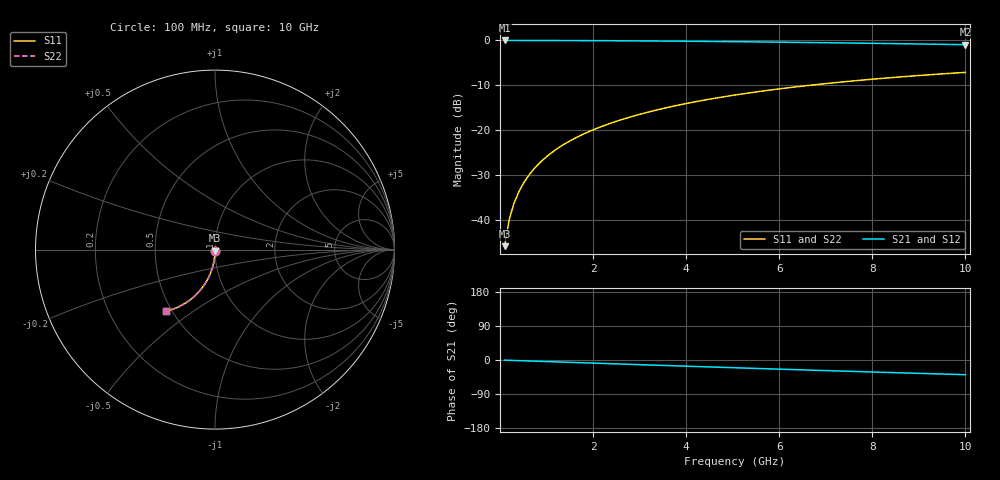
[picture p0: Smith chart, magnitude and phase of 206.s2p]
# Hz S RI R 50.00
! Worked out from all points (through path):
!   100 points, 100 MHz to 10 GHz, reference 50 ohm
!   highest |S21| = 0.00 dB at 100 MHz (marker M1); lowest = -0.9 dB at 10 GHz (marker M2)
!   group delay of S21, straight-line fit = 10.8 ps
!   lowest |S11| = -45.9 dB at 100 MHz (marker M3), VSWR 1.01, Z = 50 - j0.504 ohm
!   |S11| at or under -10 dB: start of sweep to 6.672 GHz
!   |S22| runs from -45.9 to -7.1 dB; largest |S21 - S12| = 0
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1e8  0.000272 -0.00504  0.9996 -0.00716  0.9996 -0.00716  0.000272 -0.00504
2e8  0.00016 -0.0101  0.9995 -0.0143  0.9995 -0.0143  0.00016 -0.0101
3e8  -2.45e-05 -0.0151  0.9993 -0.0215  0.9993 -0.0215  -2.45e-05 -0.0151
4e8  -0.000282 -0.0201  0.999 -0.0286  0.999 -0.0286  -0.000282 -0.0201
5e8  -0.000611 -0.0252  0.9987 -0.0358  0.9987 -0.0358  -0.000611 -0.0252
6e8  -0.00101 -0.0302  0.9983 -0.0429  0.9983 -0.0429  -0.00101 -0.0302
7e8  -0.00149 -0.0352  0.9978 -0.0501  0.9978 -0.0501  -0.00149 -0.0352
8e8  -0.00203 -0.0402  0.9972 -0.0572  0.9972 -0.0572  -0.00203 -0.0402
9e8  -0.00265 -0.0452  0.9965 -0.0643  0.9965 -0.0643  -0.00265 -0.0452
1.1e9  -0.0041 -0.0552  0.995 -0.0786  0.995 -0.0786  -0.0041 -0.0552
1.4e9  -0.0068 -0.0701  0.9921 -0.0998  0.9921 -0.0998  -0.0068 -0.0701
1.8e9  -0.0114 -0.0896  0.9872 -0.1279  0.9872 -0.1279  -0.0114 -0.0896
2.1e9  -0.0155 -0.1041  0.9828 -0.1488  0.9828 -0.1488  -0.0155 -0.1041
2.5e9  -0.022 -0.1231  0.9759 -0.1763  0.9759 -0.1763  -0.022 -0.1231
2.9e9  -0.0296 -0.1415  0.9679 -0.2033  0.9679 -0.2033  -0.0296 -0.1415
3.4e9  -0.0404 -0.1639  0.9563 -0.2364  0.9563 -0.2364  -0.0404 -0.1639
4.2e9  -0.0607 -0.1977  0.9346 -0.2874  0.9346 -0.2874  -0.0607 -0.1977
5.1e9  -0.0875 -0.2322  0.9059 -0.3414  0.9059 -0.3414  -0.0875 -0.2322
5.9e9  -0.1142 -0.2595  0.877 -0.3862  0.877 -0.3862  -0.1142 -0.2595
6.7e9  -0.1432 -0.2833  0.8456 -0.4275  0.8456 -0.4275  -0.1432 -0.2833
8.4e9  -0.2098 -0.3217  0.7727 -0.5038  0.7727 -0.5038  -0.2098 -0.3217
1e10  -0.2753 -0.343  0.6998 -0.5614  0.6998 -0.5614  -0.2753 -0.343
